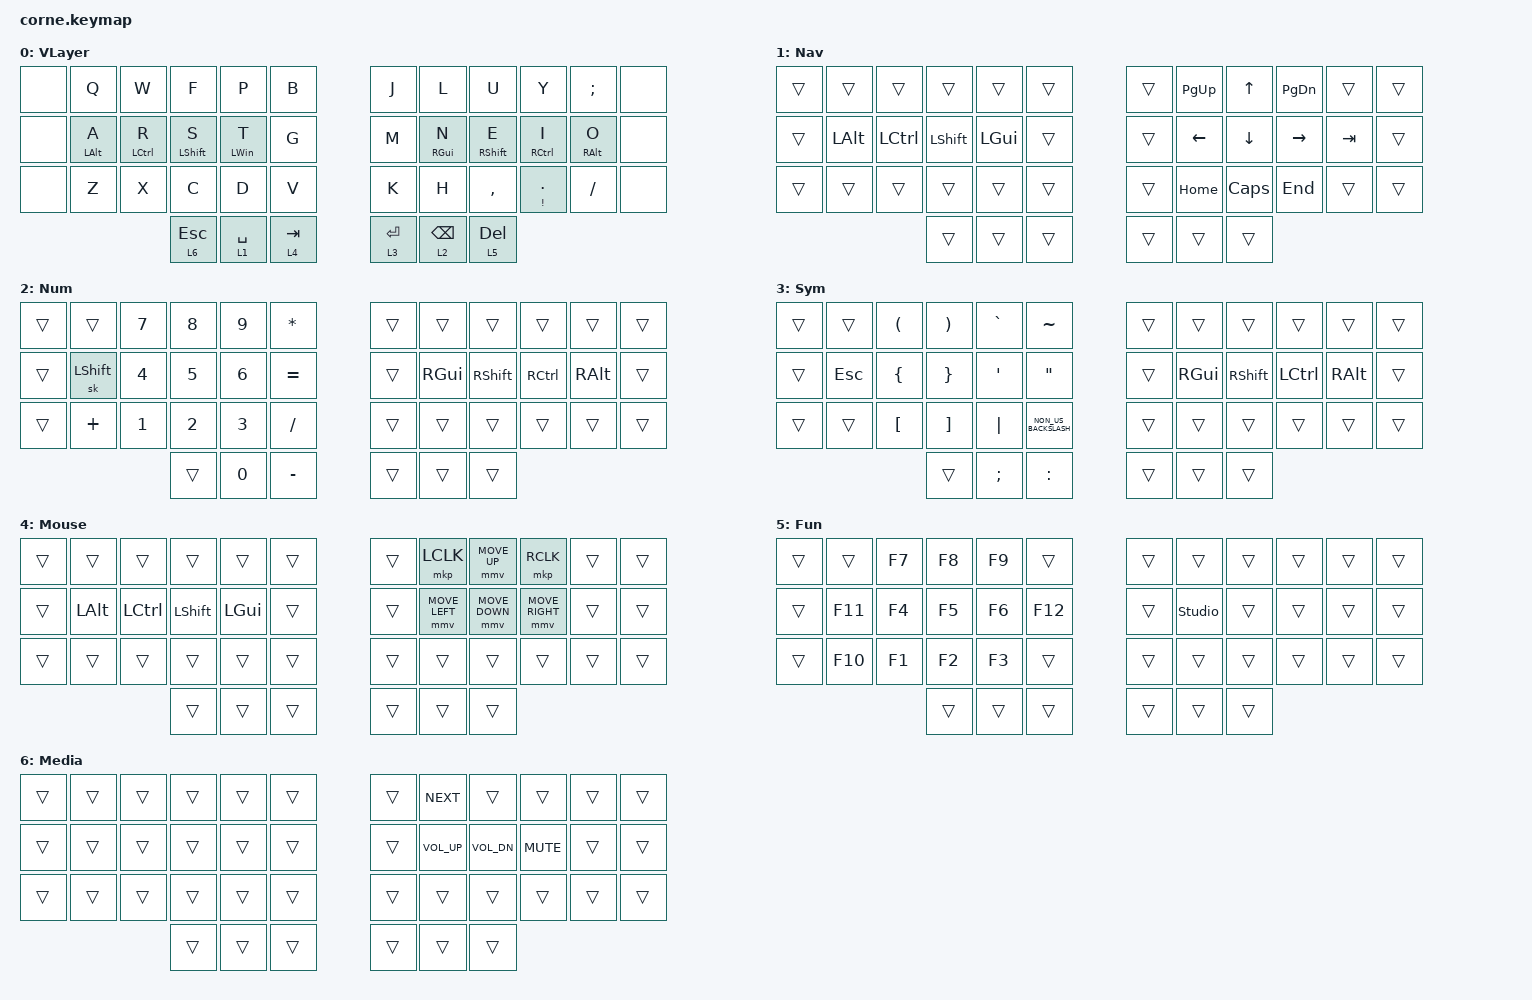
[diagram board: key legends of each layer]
/*
 * Copyright (c) 2020 The ZMK Contributors
 * Miryoku Layout Implementation for Corne Keyboard
 *
 * SPDX-License-Identifier: MIT
 */

#include <dt-bindings/zmk/mouse.h>
#include <behaviors.dtsi>
#include <dt-bindings/zmk/keys.h>
#include <dt-bindings/zmk/pointing.h>

/* Layer definitions for Miryoku layout */

#define BASE   0
#define NAV    1
#define MOUSE  2
#define MEDIA  3
#define NUM    4
#define SYM    5
#define FUN    6

&sl {
    release-after-ms = <1000>;
    quick-release;  // <--- Just this line. No "tap".
};

&sk { quick-release; };

/ {
    behaviors {
        /* Home Row Mods*/

        hm: homerow_mods {
            compatible = "zmk,behavior-hold-tap";
            #binding-cells = <2>;
            tapping-term-ms = <200>;
            quick-tap-ms = <0>;
            flavor = "tap-preferred";
            bindings = <&kp>, <&kp>;
        };

        /* Thumb layer keys */

        ltsk: layer_tap_sk {
            compatible = "zmk,behavior-hold-tap";
            #binding-cells = <2>;
            tapping-term-ms = <200>;
            flavor = "tap-preferred";
            bindings = <&mo>, <&sk>;
        };
    };

    combos {
        compatible = "zmk,combos";

        semicolon {
            bindings = <&kp SEMICOLON>;
            key-positions = <32 33>;
            layers = <0>;
        };

        Kpress {
            bindings = <&kp K>;
            key-positions = <31 32>;
            layers = <0>;
        };

        VPress {
            bindings = <&kp V>;
            key-positions = <27 28>;
            layers = <0>;
        };

        q {
            bindings = <&kp Q>;
            key-positions = <16 19>;
        };

        rst {
            bindings = <&kp LG(ENTER)>;
            key-positions = <19 20 21>;
            layers = <0>;
        };

        esc {
            bindings = <&kp ESC>;
            key-positions = <4 3>;
            layers = <0>;
        };

        delete {
            bindings = <&kp BACKSPACE>;
            key-positions = <7 8>;
        };
    };

    keymap {
        compatible = "zmk,keymap";

        /* Layer 0: BASE - Miryoku Colemak-DHm */

        default_layer {
            display-name = "VLayer";
            bindings = <
&none  &kp Q           &kp W        &kp F             &kp P           &kp B        &kp J        &kp L            &kp U              &kp Y                &kp SEMICOLON    &none
&none  &hm LEFT_ALT A  &hm LCTRL R  &hm LEFT_SHIFT S  &hm LEFT_WIN T  &kp G        &kp M        &hm RIGHT_GUI N  &hm RIGHT_SHIFT E  &hm RIGHT_CONTROL I  &hm RIGHT_ALT O  &none
&none  &kp Z           &kp X        &kp C             &kp D           &kp V        &kp K        &kp H            &kp COMMA          &hm EXCLAMATION DOT  &kp FSLH         &none
                                    &lt 6 ESC         &lt 1 SPACE     &lt 4 TAB    &lt 3 ENTER  &lt 2 BACKSPACE  &lt 5 DEL
            >;
        };

        layer_1 {
            bindings = <
&trans  &trans        &trans     &trans          &trans    &trans    &trans  &kp PG_UP  &kp UP    &kp PG_DN  &trans   &trans
&trans  &kp LEFT_ALT  &kp LCTRL  &kp LEFT_SHIFT  &kp LGUI  &trans    &trans  &kp LEFT   &kp DOWN  &kp RIGHT  &kp TAB  &trans
&trans  &trans        &trans     &trans          &trans    &trans    &trans  &kp HOME   &kp CAPS  &kp END    &trans   &trans
                                 &trans          &trans    &trans    &trans  &trans     &trans
            >;

            label = "Nav";
        };

        layer_2 {
            bindings = <
&trans  &trans          &kp N7  &kp N8  &kp N9  &kp ASTERISK    &trans  &trans    &trans           &trans             &trans         &trans
&trans  &sk LEFT_SHIFT  &kp N4  &kp N5  &kp N6  &kp EQUAL       &trans  &kp RGUI  &kp RIGHT_SHIFT  &kp RIGHT_CONTROL  &kp RIGHT_ALT  &trans
&trans  &kp PLUS        &kp N1  &kp N2  &kp N3  &kp SLASH       &trans  &trans    &trans           &trans             &trans         &trans
                                &trans  &kp N0  &kp MINUS       &trans  &trans    &trans
            >;

            label = "Num";
        };

        layer_3 {
            bindings = <
&trans  &trans   &kp LEFT_PARENTHESIS  &kp RIGHT_PARENTHESIS  &kp GRAVE      &kp TILDE               &trans  &trans    &trans           &trans     &trans         &trans
&trans  &kp ESC  &kp LEFT_BRACE        &kp RIGHT_BRACE        &kp SQT        &kp DOUBLE_QUOTES       &trans  &kp RGUI  &kp RIGHT_SHIFT  &kp LCTRL  &kp RIGHT_ALT  &trans
&trans  &trans   &kp LEFT_BRACKET      &kp RIGHT_BRACKET      &kp PIPE       &kp NON_US_BACKSLASH    &trans  &trans    &trans           &trans     &trans         &trans
                                       &trans                 &kp SEMICOLON  &kp COLON               &trans  &trans    &trans
            >;

            label = "Sym";
        };

        layer_4 {
            bindings = <
&trans  &trans    &trans     &trans          &trans    &trans    &trans  &mkp LCLK       &mmv MOVE_UP    &mkp RCLK        &trans  &trans
&trans  &kp LALT  &kp LCTRL  &kp LEFT_SHIFT  &kp LGUI  &trans    &trans  &mmv MOVE_LEFT  &mmv MOVE_DOWN  &mmv MOVE_RIGHT  &trans  &trans
&trans  &trans    &trans     &trans          &trans    &trans    &trans  &trans          &trans          &trans           &trans  &trans
                             &trans          &trans    &trans    &trans  &trans          &trans
            >;

            label = "Mouse";
        };

        layer_5 {
            bindings = <
&trans  &trans   &kp F7  &kp F8  &kp F9  &trans     &trans  &trans          &trans  &trans  &trans  &trans
&trans  &kp F11  &kp F4  &kp F5  &kp F6  &kp F12    &trans  &studio_unlock  &trans  &trans  &trans  &trans
&trans  &kp F10  &kp F1  &kp F2  &kp F3  &trans     &trans  &trans          &trans  &trans  &trans  &trans
                         &trans  &trans  &trans     &trans  &trans          &trans
            >;

            label = "Fun";
        };

        layer_6 {
            bindings = <
&trans  &trans  &trans  &trans  &trans  &trans    &trans  &kp C_NEXT       &trans        &trans      &trans  &trans
&trans  &trans  &trans  &trans  &trans  &trans    &trans  &kp C_VOLUME_UP  &kp C_VOL_DN  &kp K_MUTE  &trans  &trans
&trans  &trans  &trans  &trans  &trans  &trans    &trans  &trans           &trans        &trans      &trans  &trans
                        &trans  &trans  &trans    &trans  &trans           &trans
            >;

            label = "Media";
        };
    };

    conditional_layers { compatible = "zmk,conditional-layers"; };
};
